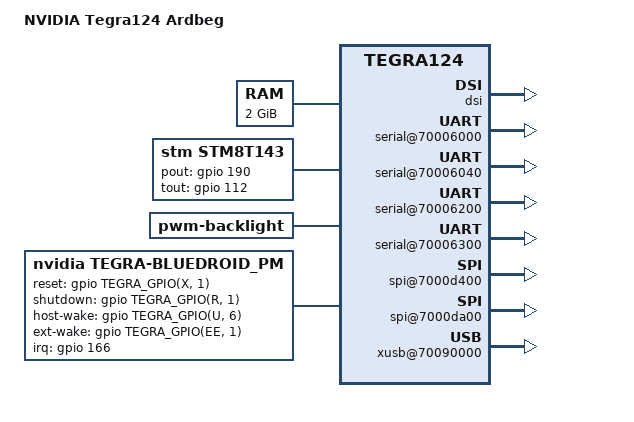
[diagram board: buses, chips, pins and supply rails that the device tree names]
/*
 * arch/arm/boot/dts/tegra124-ardbeg-e1780-1000-a00-common.dtsi
 *
 * Copyright (c) 2014-2015, NVIDIA CORPORATION.  All rights reserved.
 *
 * This program is free software; you can redistribute it and/or modify
 * it under the terms of the GNU General Public License as published by
 * the Free Software Foundation; either version 2 of the License, or
 * (at your option) any later version.
 *
 * This program is distributed in the hope that it will be useful, but WITHOUT
 * ANY WARRANTY; without even the implied warranty of MERCHANTABILITY or
 * FITNESS FOR A PARTICULAR PURPOSE.  See the GNU General Public License for
 * more details.
 *
 * You should have received a copy of the GNU General Public License along
 * with this program; if not, write to the Free Software Foundation, Inc.,
 * 51 Franklin Street, Fifth Floor, Boston, MA  02110-1301, USA.
 */

/**
 * Common dtsi file for tegra124-ardbeg-e1780-1000-a00 varients.
 */

#include "tegra124-soc-shield.dtsi"
#include "tegra124-platforms/tegra124-ardbeg-powermon-e1780-1000-a00.dtsi"
#include "tegra124-platforms/tegra124-tn8-gpio-e1780-1100-a02.dtsi"
#include "tegra124-platforms/tegra124-tn8-pinmux-e1780-1100-a02.dtsi"
#include "tegra124-platforms/tegra124-tn8-keys-e1780-1100-a02.dtsi"
#include "panel-p-wuxga-10-1.dtsi"
#include "panel-s-wqxga-10-1.dtsi"
#include "tegra124-platforms/tegra124-ardbeg-hdmi-e1780-1000-a00.dtsi"
#include "tegra124-platforms/tegra124-tn8-camera-e1780-a00.dtsi"
#include "tegra124-platforms/tegra124-modem-common.dtsi"

/ {
	model = "NVIDIA Tegra124 Ardbeg";
	compatible = "nvidia,ardbeg", "nvidia,tegra124";
	nvidia,boardids = "1780:1000:00:B:3";
	#address-cells = <2>;
	#size-cells = <2>;

	chosen {
		bootargs = "tegraid=40.0.0.00.00 vmalloc=256M video=tegrafb console=ttyS0,115200n8 earlyprintk";
		linux,initrd-start = <0x85000000>;
		linux,initrd-end = <0x851bc400>;
	};

	firmware {
		android {
			compatible = "android,firmware";
			hardware = "ardbeg";
		};
	};

	host1x {
		/* tegradc.0 */
		dc@54200000 {
			status = "okay";
			nvidia,dc-flags = <TEGRA_DC_FLAG_ENABLED>;
			nvidia,emc-clk-rate = <204000000>;
			nvidia,cmu-enable = <1>;
			nvidia,low-v-win = <0x2>;
			nvidia,fb-bpp = <32>; /* bits per pixel */
			nvidia,fb-flags = <TEGRA_FB_FLIP_ON_PROBE>;
		};
		/* tegradc.1 */
		dc@54240000 {
			status = "okay";
			nvidia,dc-flags = <TEGRA_DC_FLAG_ENABLED>;
			nvidia,emc-clk-rate = <300000000>;
			nvidia,fb-bpp = <32>; /* bits per pixel */
			nvidia,fb-flags = <TEGRA_FB_FLIP_ON_PROBE>;
		};
		dsi {
			nvidia,dsi-controller-vs = <1>;
			status = "okay";
			panel-p-wuxga-10-1 {
				nvidia,dsi-dpd-pads = <DSIC_DPD_EN DSID_DPD_EN>;
				nvidia,panel-rst-gpio = <&gpio TEGRA_GPIO(H, 3) 0>; /* PH3 */
				nvidia,panel-bl-pwm-gpio = <&gpio TEGRA_GPIO(H, 1) 0>; /* PH1 */
			};
			panel-s-wqxga-10-1 {
				nvidia,panel-rst-gpio = <&gpio TEGRA_GPIO(H, 3) 0>; /* PH3 */
				nvidia,panel-bl-pwm-gpio = <&gpio TEGRA_GPIO(H, 1) 0>; /* PH1 */
				nvidia,dsi-te-gpio = <&gpio TEGRA_GPIO(R, 6) 0>; /* PR6 */
			};
		};
	};
        serial@70006000 {
                compatible = "nvidia,tegra114-hsuart";
                status = "okay";
        };

        serial@70006040 {
                compatible = "nvidia,tegra114-hsuart";
                status = "okay";
        };

        serial@70006200 {
                compatible = "nvidia,tegra114-hsuart";
                status = "okay";
        };

        serial@70006300 {
                compatible = "nvidia,tegra20-uart", "nvidia,tegra114-hsuart";
                console-port;
		sqa-automation-port;
		status = "okay";
        };

	memory@0x80000000 {
		device_type = "memory";
		reg = <0x0 0x80000000 0x0 0x80000000>;
	};

	i2c@7000c400 {
		battery-gauge@0b {
			compatible = "sbs,sbs-battery";
			reg = <0x0b>;
			status = "disabled";
			sbs,i2c-retry-count = <2>;
			sbs,poll-retry-count = <100>;
		};
	};

	i2c@7000d000 {
		nvidia,bit-banging-xfer-after-shutdown;
	};

	spi@7000d400 {
		status = "okay";
		spi-max-frequency = <25000000>;
	};

	spi@7000da00 {
		status = "okay";
		spi-max-frequency = <25000000>;
	};

	pmc@7000e400 {
		status = "okay";
		nvidia,invert-interrupt;
		nvidia,suspend-mode = <0>;
		nvidia,cpu-pwr-good-time = <500>;
		nvidia,cpu-pwr-off-time = <300>;
		nvidia,core-pwr-good-time = <3845 3845>;
		nvidia,core-pwr-off-time = <2000>;
		nvidia,core-power-req-active-high;
		nvidia,sys-clock-req-active-high;
	};

	stm8t143 {
		compatible = "stm,stm8t143";
		pout-gpio = <&gpio 190 0>;
		tout-gpio = <&gpio 112 0>;
	};

	xusb@70090000 {
		/* nvidia,uses_external_pmic;
		nvidia,gpio_controls_muxed_ss_lanes; */
		nvidia,gpio_ss1_sata = <0>;
		nvidia,portmap = <0x703>; /* SSP0, SSP1 USB2P0, USB2P1, USBP2 */
		nvidia,ss_portmap = <0x20>; /* SSP0 on USB2P0, SSP1 on USB2P2 */
		nvidia,lane_owner = <6>; /* USB3P0 USB3P1 */
		nvidia,ulpicap = <0>; /* No ulpi support. can we remove */
		/* hsic config values in order defined in structure */
		nvidia,hsic0 = /bits/8 <0x1 0x1 0x8 0xa 0 0 1 0x22 0>;
		status = "okay";
	};

	psy_extcon {
		compatible = "power-supply-extcon";
		power-supply,extcon-dev = "tegra-udc";
	};
	backlight {
		compatible = "pwm-backlight";
		status = "okay";
	};
	bluedroid_pm {
		compatible = "nvidia,tegra-bluedroid_pm";
		id = <0>;
		bluedroid_pm,reset-gpio = <&gpio TEGRA_GPIO(X, 1) 0>;
		bluedroid_pm,shutdown-gpio = <&gpio TEGRA_GPIO(R, 1) 0>;
		bluedroid_pm,host-wake-gpio = <&gpio TEGRA_GPIO(U, 6) 0>;
		bluedroid_pm,ext-wake-gpio = <&gpio TEGRA_GPIO(EE, 1) 0>;
		interrupt-parent = <&gpio>;
		interrupts = <166 0x01>;
    };

	cpu_edp {
		nvidia,edp_limit = <14000>;
	};

	gpu_edp {
		nvidia,edp_limit = <11200>;
	};
};
